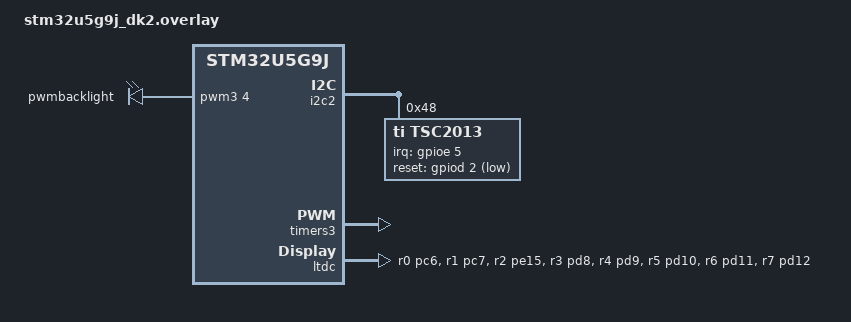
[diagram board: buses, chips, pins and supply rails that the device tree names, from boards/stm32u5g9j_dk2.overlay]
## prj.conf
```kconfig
CONFIG_MAIN_STACK_SIZE=7168
CONFIG_LOG=y
CONFIG_SHELL=y

CONFIG_LVGL=y
CONFIG_LV_Z_MEM_POOL_SIZE=58368
CONFIG_LV_Z_SHELL=y
CONFIG_LV_USE_MONKEY=y

CONFIG_DISPLAY=y
CONFIG_INPUT=y

CONFIG_LV_FONT_MONTSERRAT_12=y
CONFIG_LV_FONT_MONTSERRAT_14=y
CONFIG_LV_FONT_MONTSERRAT_16=y
CONFIG_LV_FONT_MONTSERRAT_18=y
CONFIG_LV_FONT_MONTSERRAT_24=y

# Benchmark Demo
CONFIG_LV_USE_FONT_COMPRESSED=y

CONFIG_LV_USE_SYSMON=y
CONFIG_LV_USE_PERF_MONITOR=y
CONFIG_LV_USE_PERF_MONITOR_LOG_MODE=n
CONFIG_CPU_LOAD=y
```

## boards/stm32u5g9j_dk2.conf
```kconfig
#
# Copyright (c) 2026 FuseTim
#
# SPDX-License-Identifier: Apache-2.0
#
CONFIG_LV_Z_MEM_POOL_SIZE=81920
CONFIG_LV_DRAW_LAYER_SIMPLE_BUF_SIZE=38912

CONFIG_FPU=y
CONFIG_FP_HARDABI=y
CONFIG_LV_USE_VECTOR_GRAPHIC=y
CONFIG_LV_USE_MATRIX=y
CONFIG_LV_USE_FLOAT=y
CONFIG_LV_Z_NEMA_GFX_MULTI_THREAD=n
```

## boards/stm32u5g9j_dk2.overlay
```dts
/ {
    pwmleds: pwmleds {
	    compatible = "pwm-leds"; 
        status = "okay"; 
        pwmbacklight: pwmbacklight {
            pwms = < &pwm3 4 PWM_KHZ(100) PWM_POLARITY_NORMAL>;
        };
    };

    aliases {
		pwm-led0 = &pwmbacklight;
	};

    chosen {
		zephyr,touch = &tsc2013;
    };
};


&gt911 {
		status = "disabled";
};

&i2c2 {
    status = "okay";
    tsc2013: tsc2013@48 {
		compatible = "ti,tsc2013";
        status = "okay";
		reg = <0x48>;
		irq-gpios = <&gpioe 5 GPIO_ACTIVE_HIGH>;
		reset-gpios = <&gpiod 2 GPIO_ACTIVE_LOW>;
    };
};

// Enable PWM on Timer 3 / Channel 4 for BL_CTRL (PE6)
&timers3 {
    status = "okay";
    st,prescaler = < 16 >;  // Prescaler = 16000 (160Mhz -> 10MHz)

    pwm3: pwm {
        status = "okay";
        pinctrl-0 = < &tim3_ch4_pe6 >;
        pinctrl-names = "default";
    };
};

&ltdc {
    status = "okay";

    /delete-property/ disp-on-gpios;  
    // Disable ON-OFF backlight, for a better approach using PWM
    /delete-property/ bl-ctrl-gpios;

    pinctrl-0 = <&ltdc_r0_pc6 &ltdc_r1_pc7 &ltdc_r2_pe15 &ltdc_r3_pd8
	     &ltdc_r4_pd9 &ltdc_r5_pd10 &ltdc_r6_pd11 &ltdc_r7_pd12
	     &ltdc_g0_pc8 &ltdc_g1_pc9 &ltdc_g2_pe9 &ltdc_g3_pe10
	     &ltdc_g4_pe11 &ltdc_g5_pe12 &ltdc_g6_pe13 &ltdc_g7_pe14
	     &ltdc_b0_pb9 &ltdc_b1_pb2 &ltdc_b2_pd14 &ltdc_b3_pd15
	     &ltdc_b4_pd0 &ltdc_b5_pd1 &ltdc_b6_pe7 &ltdc_b7_pe8
	     &ltdc_clk_pd3 &ltdc_hsync_pe0 &ltdc_vsync_pd13>;

    width = <320>;
	height = <240>;
	pixel-format = <PANEL_PIXEL_FORMAT_RGB_888>;

	def-back-color-red = <0x00>;
	def-back-color-green = <0xFF>;
	def-back-color-blue = <0x00>;

	display-timings {
		compatible = "zephyr,panel-timing";
        clock-frequency = <4000000>;
        
        hsync-len = <409>;
        hback-porch = <68>;
        hfront-porch = <20>;

        vsync-len = <263>;
        vback-porch = <18>;
        vfront-porch = <4>;

        de-active = <0>;
        hsync-active = <1>;
        vsync-active = <1>;
		pixelclk-active = <1>;
	};
};
```

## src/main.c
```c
/*
 * Copyright (c) 2023 Fabian Blatz <fabianblatz@gmail.com>
 *
 * SPDX-License-Identifier: Apache-2.0
 */

#include <zephyr/kernel.h>
#include <zephyr/drivers/display.h>
#include <zephyr/drivers/pwm.h>
#include <lvgl.h>
#include <lvgl_mem.h>
#include <lvgl_zephyr.h>
#include <lv_demos.h>
#include <stdio.h>

#define LOG_LEVEL CONFIG_LOG_DEFAULT_LEVEL
#include <zephyr/logging/log.h>
LOG_MODULE_REGISTER(app);

int main(void)
{
 	const struct pwm_dt_spec pwm_led0 = PWM_DT_SPEC_GET(DT_ALIAS(pwm_led0));
		if (!pwm_is_ready_dt(&pwm_led0)) {
		printk("Error: PWM device %s is not ready\n",
		       pwm_led0.dev->name);
		return 0;
	}
    uint32_t max_period = PWM_USEC(100);
    int ret = pwm_set_dt(&pwm_led0, max_period, max_period / 2U);
	if (ret) {
		printk("Error %d: failed to set pulse width\n", ret);
		return 0;
	}

	const struct device *display_dev;
#ifdef CONFIG_LV_Z_DEMO_RENDER_SCENE_DYNAMIC
	k_timepoint_t next_scene_switch;
	lv_demo_render_scene_t cur_scene = LV_DEMO_RENDER_SCENE_FILL;
#endif /* CONFIG_LV_Z_DEMO_RENDER_SCENE_DYNAMIC */

	display_dev = DEVICE_DT_GET(DT_CHOSEN(zephyr_display));
	if (!device_is_ready(display_dev)) {
		LOG_ERR("Device not ready, aborting test");
		return 0;
	}

	lvgl_lock();

#if defined(CONFIG_LV_Z_DEMO_MUSIC)
	lv_demo_music();
#elif defined(CONFIG_LV_Z_DEMO_BENCHMARK)
	lv_demo_benchmark();
#elif defined(CONFIG_LV_Z_DEMO_STRESS)
	lv_demo_stress();
#elif defined(CONFIG_LV_Z_DEMO_WIDGETS)
	lv_demo_widgets();
#elif defined(CONFIG_LV_Z_DEMO_KEYPAD_AND_ENCODER)
	lv_demo_keypad_encoder();
#elif defined(CONFIG_LV_Z_DEMO_RENDER)

#ifdef CONFIG_LV_Z_DEMO_RENDER_SCENE_DYNAMIC
	lv_demo_render(cur_scene, 255);
	next_scene_switch =
		sys_timepoint_calc(K_SECONDS(CONFIG_LV_Z_DEMO_RENDER_DYNAMIC_SCENE_TIMEOUT));
#else
	lv_demo_render(CONFIG_LV_Z_DEMO_RENDER_SCENE_INDEX, 255);
#endif /* CONFIG_LV_Z_DEMO_RENDER_SCENE_DYNAMIC */

#else
#error Enable one of the demos CONFIG_LV_Z_DEMO_*
#endif

#ifndef CONFIG_LV_Z_RUN_LVGL_ON_WORKQUEUE
	lv_timer_handler();
#endif
	lvgl_unlock();

	ret = display_blanking_off(display_dev);
	if (ret < 0 && ret != -ENOSYS) {
		LOG_ERR("Failed to turn blanking off (error %d)", ret);
		return 0;
	}

#ifdef CONFIG_LV_Z_MEM_POOL_SYS_HEAP
	lvgl_print_heap_info(false);
#else
	printf("lvgl in malloc mode\n");
#endif
	while (1) {
#ifndef CONFIG_LV_Z_RUN_LVGL_ON_WORKQUEUE
		uint32_t sleep_ms;

		lvgl_lock();
		sleep_ms = lv_timer_handler();
		lvgl_unlock();

		k_msleep(MIN(sleep_ms, INT32_MAX));
#else
		/* LVGL managed by dedicated workqueue, just put an application side delay */
		k_msleep(10);
#endif
#ifdef CONFIG_LV_Z_DEMO_RENDER_SCENE_DYNAMIC
		if (sys_timepoint_expired(next_scene_switch)) {
			cur_scene = (cur_scene + 1) % LV_DEMO_RENDER_SCENE_NUM;
			lvgl_lock();
			lv_demo_render(cur_scene, 255);
			lvgl_unlock();
			next_scene_switch = sys_timepoint_calc(
				K_SECONDS(CONFIG_LV_Z_DEMO_RENDER_DYNAMIC_SCENE_TIMEOUT));
		}
#endif /* CONFIG_LV_Z_DEMO_RENDER_SCENE_DYNAMIC */
	}

	return 0;
}
```
